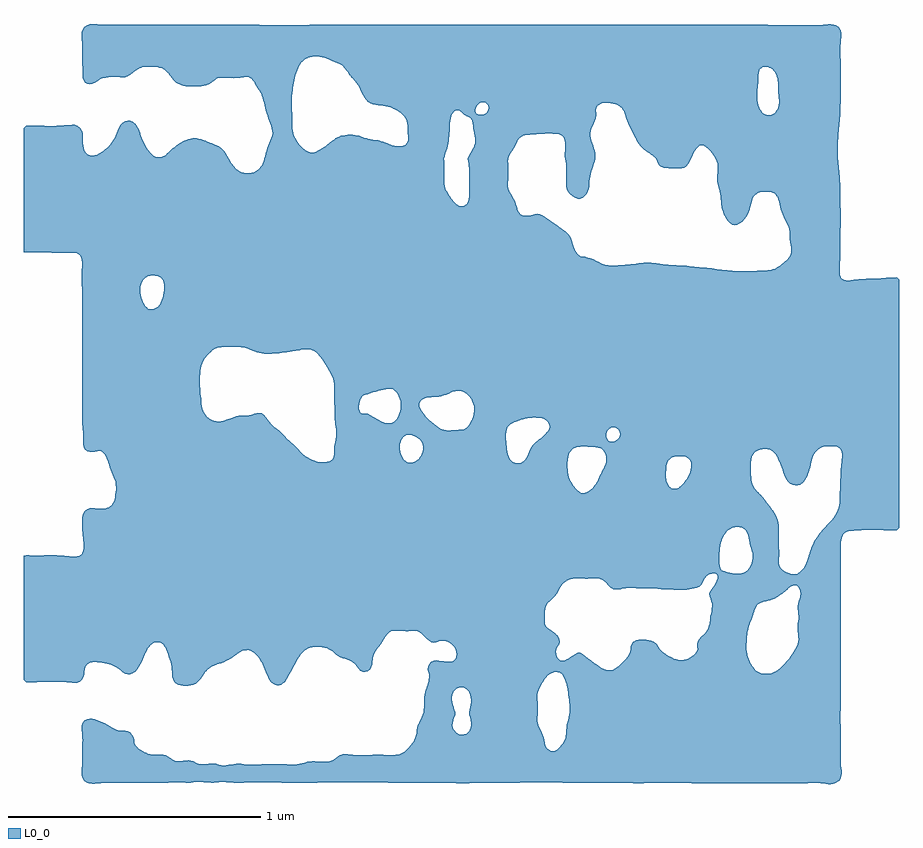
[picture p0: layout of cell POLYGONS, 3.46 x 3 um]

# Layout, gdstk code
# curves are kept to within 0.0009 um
import gdstk
lib = gdstk.Library(unit=1e-6, precision=1e-09)
def R(c, l, rs):  # rectangles x0, y0, x1, y1
    for r in rs: c.add(gdstk.rectangle(r[:2], r[2:], *l))
def P(c, l, *ps):  # polygons
    for p in ps: c.add(gdstk.Polygon(p, *l))
L0_0 = (0, 0)

polygons = lib.new_cell('POLYGONS')
R(polygons, L0_0, [(0.04,-1.25,0.296,-0.86), (-1.5,-0.86,-1.397,-0.61), (-1.397,-0.86,-1.24,-0.61), (-1.24,-0.86,-1.047,-0.61), (-1.047,-0.86,-0.87,-0.61), (-0.87,-0.86,-0.7,-0.61), (-0.7,-0.86,-0.53,-0.61), (-0.53,-0.86,-0.37,-0.61), (-0.37,-0.86,-0.214,-0.61), (-0.214,-0.86,-0.06,-0.61), (-0.06,-0.86,0.04,-0.61), (0.04,-0.86,0.296,-0.61), (-1.24,-0.61,-1.047,-0.24), (-1.047,-0.61,-0.87,-0.24), (-0.87,-0.61,-0.7,-0.24), (-0.7,-0.61,-0.53,-0.24), (-0.53,-0.61,-0.37,-0.24), (-0.37,-0.61,-0.214,-0.24), (-0.214,-0.61,-0.06,-0.24), (-0.06,-0.61,0.04,-0.24), (0.04,-0.61,0.296,-0.24), (0.296,-0.61,0.414,-0.24), (-1.24,-0.24,-1.047,0.09), (-0.06,-0.24,0.04,-0.13)])
P(polygons, L0_0, [(-1.5,1.475),(-1.5,1.475),(-1.501,1.47),(-1.502,1.46),(-1.502,1.45),(-1.501,1.44),(-1.5,1.43),(-1.5,1.43),(-1.5,1.427)],
  [(-1.5,0.434),(-1.5,1.077),(-1.51,1.092),(-1.521,1.1),(-1.53,1.103),(-1.61,1.098),(-1.64,1.098),(-1.66,1.1),(-1.72,1.1),(-1.73,1.09),(-1.73,0.6),(-1.53,0.598),(-1.52,0.595),(-1.511,0.59),(-1.504,0.58),(-1.501,0.57),(-1.5,0.56),(-1.502,0.51)],
  [(-1.5,0.07),(-1.5,0.06),(-1.5,0.055),(-1.5,0.42),(-1.5,0.41),(-1.5,0.4),(-1.5,0.39),(-1.5,0.38),(-1.5,0.37),(-1.5,0.36),(-1.5,0.35),(-1.5,0.34),(-1.5,0.33),(-1.5,0.325),(-1.5,0.32),(-1.5,0.31),(-1.5,0.3),(-1.5,0.29),(-1.5,0.28),(-1.5,0.26),(-1.5,0.25),(-1.5,0.24),(-1.5,0.23),(-1.5,0.22),(-1.5,0.21),(-1.5,0.2),(-1.5,0.19),(-1.5,0.18),(-1.5,0.17),(-1.5,0.16),(-1.5,0.15),(-1.5,0.13),(-1.5,0.12),(-1.5,0.11),(-1.5,0.107),(-1.5,0.1),(-1.5,0.09),(-1.5,0.08)],
  [(-1.5,-0.47),(-1.5,-0.47),(-1.5,-0.472)],
  [(-1.72,-1.1),(-1.59,-1.098),(-1.53,-1.103),(-1.52,-1.102),(-1.51,-1.098),(-1.5,-1.088),(-1.5,-0.591),(-1.51,-0.6),(-1.53,-0.605),(-1.6,-0.599),(-1.66,-0.6),(-1.72,-0.599),(-1.73,-0.6),(-1.73,-1.09)],
  [(-1.5,-1.265),(-1.5,-1.266),(-1.501,-1.27),(-1.501,-1.28),(-1.501,-1.29),(-1.5,-1.3),(-1.5,-1.301),(-1.5,-1.304)],
  [(-1.5,-1.422),(-1.5,-1.426),(-1.5,-1.43),(-1.501,-1.44),(-1.502,-1.45),(-1.502,-1.46),(-1.501,-1.47),(-1.5,-1.475),(-1.5,-1.476)],
  [(-1.46,1.266),(-1.45,1.27),(-1.43,1.283),(-1.42,1.287),(-1.397,1.292),(-1.397,1.499),(-1.45,1.502),(-1.47,1.501),(-1.48,1.498),(-1.49,1.492),(-1.5,1.475),(-1.499,1.34),(-1.497,1.29),(-1.494,1.28),(-1.488,1.27),(-1.48,1.266),(-1.47,1.264)],
  [(-1.397,1.015),(-1.42,0.996),(-1.44,0.986),(-1.45,0.983),(-1.46,0.982),(-1.47,0.983),(-1.48,0.987),(-1.49,0.998),(-1.494,1.01),(-1.497,1.03),(-1.497,1.06),(-1.5,1.077),(-1.5,0.45),(-1.397,0.45)],
  [(-1.397,0.45),(-1.5,0.45),(-1.5,0.434),(-1.5,0.43),(-1.5,0.42),(-1.5,0.09),(-1.397,0.09)],
  [(-1.397,0.09),(-1.5,0.09),(-1.499,-0.08),(-1.496,-0.11),(-1.496,-0.16),(-1.494,-0.17),(-1.49,-0.18),(-1.48,-0.187),(-1.47,-0.19),(-1.459,-0.19),(-1.43,-0.186),(-1.42,-0.19),(-1.41,-0.2),(-1.397,-0.228)],
  [(-1.397,-0.41),(-1.41,-0.414),(-1.42,-0.415),(-1.46,-0.412),(-1.47,-0.413),(-1.48,-0.416),(-1.486,-0.42),(-1.494,-0.43),(-1.499,-0.45),(-1.5,-0.47),(-1.499,-0.5),(-1.494,-0.55),(-1.494,-0.57),(-1.495,-0.58),(-1.5,-0.591),(-1.5,-0.61),(-1.397,-0.61)],
  [(-1.495,-1.08),(-1.492,-1.07),(-1.49,-1.049),(-1.487,-1.04),(-1.48,-1.03),(-1.47,-1.024),(-1.46,-1.021),(-1.45,-1.02),(-1.41,-1.025),(-1.397,-1.028),(-1.397,-0.86),(-1.5,-0.86),(-1.5,-1.088)],
  [(-1.45,-1.502),(-1.42,-1.499),(-1.397,-1.499),(-1.397,-1.27),(-1.44,-1.25),(-1.46,-1.245),(-1.47,-1.245),(-1.48,-1.246),(-1.489,-1.25),(-1.498,-1.26),(-1.5,-1.265),(-1.5,-1.304),(-1.498,-1.33),(-1.5,-1.476),(-1.492,-1.49),(-1.48,-1.498),(-1.47,-1.501)],
  [(-1.33,1.292),(-1.313,1.3),(-1.286,1.32),(-1.27,1.329),(-1.26,1.332),(-1.24,1.333),(-1.24,1.5),(-1.397,1.499),(-1.397,1.292),(-1.37,1.294),(-1.34,1.291)],
  [(-1.271,0.46),(-1.269,0.47),(-1.265,0.48),(-1.258,0.49),(-1.25,0.498),(-1.24,0.504),(-1.24,1.004),(-1.25,1.02),(-1.26,1.04),(-1.279,1.09),(-1.29,1.108),(-1.3,1.116),(-1.31,1.119),(-1.32,1.12),(-1.33,1.118),(-1.34,1.112),(-1.35,1.101),(-1.372,1.05),(-1.38,1.037),(-1.397,1.015),(-1.397,0.45),(-1.271,0.45)],
  [(-1.24,0.377),(-1.25,0.386),(-1.26,0.404),(-1.266,0.42),(-1.271,0.45),(-1.397,0.45),(-1.397,0.09),(-1.24,0.09)],
  [(-1.39,-0.25),(-1.37,-0.302),(-1.368,-0.31),(-1.366,-0.34),(-1.37,-0.37),(-1.372,-0.38),(-1.376,-0.39),(-1.383,-0.4),(-1.397,-0.41),(-1.397,-0.61),(-1.24,-0.61),(-1.24,0.09),(-1.397,0.09),(-1.397,-0.23)],
  [(-1.31,-1.069),(-1.3,-1.066),(-1.29,-1.059),(-1.282,-1.05),(-1.27,-1.03),(-1.26,-1.01),(-1.252,-0.99),(-1.24,-0.967),(-1.24,-0.86),(-1.397,-0.86),(-1.397,-1.028),(-1.367,-1.04),(-1.35,-1.052),(-1.34,-1.061),(-1.33,-1.067),(-1.32,-1.069)],
  [(-1.33,-1.499),(-1.24,-1.498),(-1.24,-1.383),(-1.26,-1.374),(-1.281,-1.36),(-1.29,-1.348),(-1.293,-1.34),(-1.296,-1.32),(-1.301,-1.31),(-1.31,-1.299),(-1.32,-1.294),(-1.33,-1.292),(-1.35,-1.293),(-1.36,-1.291),(-1.397,-1.27),(-1.397,-1.499)],
  [(-1.05,1.255),(-1.047,1.255),(-1.047,1.499),(-1.24,1.5),(-1.24,1.333),(-1.2,1.331),(-1.19,1.329),(-1.18,1.325),(-1.172,1.32),(-1.16,1.309),(-1.14,1.282),(-1.13,1.272),(-1.11,1.261),(-1.09,1.256)],
  [(-1.22,0.508),(-1.2,0.505),(-1.19,0.5),(-1.181,0.49),(-1.177,0.48),(-1.176,0.45),(-1.181,0.42),(-1.189,0.4),(-1.195,0.39),(-1.206,0.38),(-1.22,0.375),(-1.23,0.374),(-1.24,0.377),(-1.24,0.09),(-1.047,0.09),(-1.047,1.05),(-1.063,1.05),(-1.08,1.047),(-1.1,1.038),(-1.13,1.019),(-1.17,0.984),(-1.19,0.975),(-1.2,0.975),(-1.21,0.977),(-1.22,0.983),(-1.228,0.99),(-1.24,1.004),(-1.24,0.504),(-1.23,0.507)],
  [(-1.23,-0.954),(-1.22,-0.947),(-1.21,-0.943),(-1.2,-0.943),(-1.19,-0.945),(-1.18,-0.95),(-1.173,-0.96),(-1.16,-0.99),(-1.15,-1.02),(-1.146,-1.04),(-1.143,-1.08),(-1.14,-1.09),(-1.13,-1.104),(-1.12,-1.11),(-1.11,-1.113),(-1.09,-1.115),(-1.06,-1.11),(-1.05,-1.106),(-1.047,-1.103),(-1.047,-0.86),(-1.24,-0.86),(-1.24,-0.967)],
  [(-1.22,-1.498),(-1.18,-1.499),(-1.13,-1.496),(-1.07,-1.498),(-1.047,-1.495),(-1.047,-1.42),(-1.06,-1.414),(-1.078,-1.41),(-1.11,-1.414),(-1.13,-1.413),(-1.14,-1.409),(-1.169,-1.39),(-1.18,-1.387),(-1.22,-1.387),(-1.24,-1.383),(-1.24,-1.498)],
  [(-1.04,1.255),(-1.01,1.26),(-1,1.264),(-0.99,1.269),(-0.97,1.285),(-0.96,1.289),(-0.93,1.29),(-0.9,1.288),(-0.88,1.289),(-0.87,1.291),(-0.87,1.499),(-1.047,1.499),(-1.047,1.255)],
  [(-1.034,0.1),(-1.031,0.14),(-1.026,0.16),(-1.02,0.172),(-1.01,0.187),(-0.987,0.21),(-0.97,0.22),(-0.96,0.223),(-0.93,0.226),(-0.9,0.226),(-0.87,0.224),(-0.87,0.916),(-0.89,0.928),(-0.901,0.94),(-0.909,0.95),(-0.93,0.986),(-0.94,1),(-0.95,1.011),(-0.96,1.018),(-1.012,1.04),(-1.04,1.049),(-1.047,1.05),(-1.047,0.09),(-1.034,0.09)],
  [(-0.87,-0.046),(-0.89,-0.049),(-0.93,-0.063),(-0.95,-0.069),(-0.96,-0.07),(-0.98,-0.067),(-1,-0.056),(-1.016,-0.04),(-1.026,-0.02),(-1.028,-0.01),(-1.032,0.04),(-1.034,0.09),(-1.047,0.09),(-1.047,-0.24),(-0.87,-0.24)],
  [(-1.044,-1.1),(-1.03,-1.084),(-1.013,-1.06),(-1.004,-1.05),(-0.99,-1.04),(-0.968,-1.03),(-0.937,-1.02),(-0.91,-1.005),(-0.88,-0.984),(-0.87,-0.979),(-0.87,-0.86),(-1.047,-0.86),(-1.047,-1.103)],
  [(-0.87,-1.499),(-0.87,-1.423),(-0.89,-1.423),(-0.94,-1.43),(-0.95,-1.429),(-0.97,-1.423),(-0.98,-1.422),(-1.03,-1.425),(-1.04,-1.423),(-1.047,-1.42),(-1.047,-1.495),(-0.99,-1.498),(-0.94,-1.495),(-0.89,-1.499)],
  [(-0.85,1.293),(-0.837,1.29),(-0.83,1.286),(-0.818,1.27),(-0.789,1.22),(-0.78,1.19),(-0.771,1.15),(-0.75,1.09),(-0.747,1.07),(-0.752,1.05),(-0.768,1.01),(-0.782,0.96),(-0.791,0.94),(-0.8,0.929),(-0.81,0.921),(-0.82,0.916),(-0.83,0.913),(-0.85,0.911),(-0.87,0.916),(-0.87,0.224),(-0.86,0.223),(-0.82,0.208),(-0.79,0.2),(-0.75,0.199),(-0.71,0.202),(-0.7,0.204),(-0.7,1.497),(-0.87,1.499),(-0.87,1.291)],
  [(-0.7,-0.126),(-0.716,-0.11),(-0.75,-0.083),(-0.78,-0.044),(-0.79,-0.038),(-0.8,-0.037),(-0.81,-0.038),(-0.84,-0.045),(-0.87,-0.046),(-0.87,-0.24),(-0.7,-0.24)],
  [(-0.85,-0.974),(-0.84,-0.975),(-0.83,-0.978),(-0.82,-0.984),(-0.81,-0.993),(-0.8,-1.005),(-0.786,-1.03),(-0.77,-1.07),(-0.76,-1.091),(-0.75,-1.103),(-0.74,-1.109),(-0.73,-1.112),(-0.72,-1.112),(-0.71,-1.109),(-0.7,-1.101),(-0.7,-0.86),(-0.87,-0.86),(-0.87,-0.979),(-0.86,-0.975)],
  [(-0.86,-1.498),(-0.82,-1.496),(-0.74,-1.496),(-0.7,-1.498),(-0.7,-1.424),(-0.73,-1.425),(-0.78,-1.424),(-0.83,-1.427),(-0.85,-1.426),(-0.87,-1.423),(-0.87,-1.499)],
  [(-0.672,1.19),(-0.671,1.22),(-0.662,1.28),(-0.657,1.3),(-0.65,1.32),(-0.64,1.34),(-0.633,1.35),(-0.62,1.362),(-0.603,1.37),(-0.59,1.373),(-0.58,1.374),(-0.56,1.373),(-0.55,1.371),(-0.53,1.364),(-0.53,1.499),(-0.7,1.497),(-0.7,1.18),(-0.672,1.18)],
  [(-0.53,1.024),(-0.56,1.004),(-0.58,0.995),(-0.59,0.993),(-0.6,0.994),(-0.61,0.998),(-0.627,1.01),(-0.64,1.023),(-0.65,1.036),(-0.663,1.06),(-0.666,1.07),(-0.669,1.09),(-0.669,1.14),(-0.672,1.18),(-0.7,1.18),(-0.7,0.97),(-0.53,0.97)],
  [(-0.68,0.206),(-0.62,0.216),(-0.61,0.216),(-0.59,0.213),(-0.58,0.208),(-0.57,0.2),(-0.56,0.189),(-0.55,0.176),(-0.53,0.144),(-0.53,0.97),(-0.7,0.97),(-0.7,0.204)],
  [(-0.53,-0.229),(-0.54,-0.231),(-0.55,-0.231),(-0.57,-0.228),(-0.58,-0.225),(-0.61,-0.212),(-0.627,-0.2),(-0.7,-0.126),(-0.7,-0.24),(-0.53,-0.24)],
  [(-0.699,-1.1),(-0.69,-1.086),(-0.649,-1.01),(-0.635,-0.99),(-0.62,-0.975),(-0.6,-0.964),(-0.57,-0.96),(-0.55,-0.962),(-0.53,-0.967),(-0.53,-0.86),(-0.7,-0.86),(-0.7,-1.101)],
  [(-0.59,-1.498),(-0.53,-1.497),(-0.53,-1.416),(-0.56,-1.416),(-0.59,-1.414),(-0.61,-1.416),(-0.64,-1.423),(-0.66,-1.426),(-0.68,-1.426),(-0.7,-1.424),(-0.7,-1.498),(-0.61,-1.499)],
  [(-0.38,1.207),(-0.37,1.195),(-0.37,1.5),(-0.53,1.499),(-0.53,1.364),(-0.475,1.34),(-0.463,1.33),(-0.441,1.3),(-0.409,1.26),(-0.394,1.23)],
  [(-0.37,1.049),(-0.38,1.051),(-0.4,1.059),(-0.43,1.064),(-0.46,1.063),(-0.477,1.06),(-0.49,1.055),(-0.499,1.05),(-0.53,1.024),(-0.53,0.97),(-0.37,0.97)],
  [(-0.501,-0.04),(-0.501,-0.06),(-0.495,-0.11),(-0.495,-0.13),(-0.502,-0.16),(-0.505,-0.21),(-0.512,-0.22),(-0.52,-0.226),(-0.53,-0.229),(-0.53,-0.24),(-0.37,-0.24),(-0.37,-0.04),(-0.39,-0.04),(-0.4,-0.035),(-0.407,-0.02),(-0.407,-0.01),(-0.405,0),(-0.4,0.016),(-0.392,0.03),(-0.38,0.037),(-0.37,0.039),(-0.37,0.97),(-0.53,0.97),(-0.53,0.144),(-0.516,0.12),(-0.505,0.09),(-0.503,0.07),(-0.504,0.01)],
  [(-0.38,-1.06),(-0.37,-1.057),(-0.37,-0.86),(-0.53,-0.86),(-0.53,-0.967),(-0.508,-0.98),(-0.5,-0.988),(-0.484,-1),(-0.45,-1.011),(-0.43,-1.021),(-0.42,-1.03),(-0.41,-1.044),(-0.4,-1.055),(-0.39,-1.06)],
  [(-0.37,-1.389),(-0.41,-1.39),(-0.45,-1.386),(-0.47,-1.386),(-0.48,-1.389),(-0.509,-1.41),(-0.53,-1.416),(-0.53,-1.497),(-0.37,-1.497)],
  [(-0.214,1.5),(-0.22,1.5),(-0.23,1.5),(-0.24,1.5),(-0.26,1.5),(-0.27,1.5),(-0.28,1.5),(-0.29,1.5),(-0.3,1.5),(-0.31,1.5),(-0.33,1.5),(-0.34,1.5),(-0.35,1.5),(-0.36,1.5),(-0.37,1.5),(-0.37,1.22),(-0.214,1.22)],
  [(-0.214,1.22),(-0.37,1.22),(-0.37,1.195),(-0.36,1.188),(-0.35,1.184),(-0.31,1.179),(-0.28,1.172),(-0.25,1.157),(-0.24,1.151),(-0.228,1.14),(-0.22,1.13),(-0.216,1.12),(-0.214,1.11)],
  [(-0.214,1.034),(-0.22,1.025),(-0.23,1.02),(-0.24,1.018),(-0.25,1.018),(-0.266,1.02),(-0.28,1.024),(-0.31,1.037),(-0.33,1.042),(-0.37,1.049),(-0.37,0.97),(-0.214,0.97)],
  [(-0.36,0.042),(-0.33,0.051),(-0.29,0.06),(-0.28,0.06),(-0.27,0.057),(-0.26,0.049),(-0.253,0.04),(-0.248,0.03),(-0.241,0.01),(-0.24,-0.01),(-0.241,-0.02),(-0.246,-0.04),(-0.256,-0.06),(-0.26,-0.065),(-0.27,-0.073),(-0.28,-0.076),(-0.29,-0.077),(-0.3,-0.076),(-0.33,-0.063),(-0.36,-0.044),(-0.37,-0.04),(-0.37,-0.17),(-0.244,-0.17),(-0.244,-0.16),(-0.237,-0.14),(-0.23,-0.13),(-0.22,-0.124),(-0.214,-0.123),(-0.214,0.97),(-0.37,0.97),(-0.37,0.039)],
  [(-0.214,-0.23),(-0.22,-0.227),(-0.228,-0.22),(-0.235,-0.21),(-0.24,-0.2),(-0.243,-0.19),(-0.244,-0.17),(-0.37,-0.17),(-0.37,-0.24),(-0.214,-0.24)],
  [(-0.361,-1.05),(-0.356,-1.04),(-0.353,-1.03),(-0.35,-1.004),(-0.342,-0.98),(-0.336,-0.97),(-0.32,-0.95),(-0.3,-0.918),(-0.29,-0.906),(-0.28,-0.9),(-0.27,-0.897),(-0.24,-0.897),(-0.214,-0.899),(-0.214,-0.86),(-0.37,-0.86),(-0.37,-1.057)],
  [(-0.26,-1.498),(-0.214,-1.498),(-0.214,-1.366),(-0.23,-1.379),(-0.24,-1.384),(-0.25,-1.387),(-0.27,-1.389),(-0.31,-1.388),(-0.37,-1.389),(-0.37,-1.497)],
  [(-0.06,1.5),(-0.08,1.5),(-0.09,1.5),(-0.1,1.5),(-0.13,1.5),(-0.14,1.5),(-0.15,1.5),(-0.16,1.5),(-0.17,1.5),(-0.18,1.5),(-0.19,1.5),(-0.2,1.5),(-0.21,1.5),(-0.214,1.5),(-0.214,1.22),(-0.06,1.22)],
  [(-0.067,0.98),(-0.06,1),(-0.06,1.22),(-0.214,1.22),(-0.214,1.11),(-0.213,1.07),(-0.211,1.06),(-0.211,1.04),(-0.214,1.034),(-0.214,0.97),(-0.07,0.97)],
  [(-0.164,0.01),(-0.152,0.02),(-0.14,0.024),(-0.13,0.026),(-0.09,0.029),(-0.06,0.037),(-0.06,0.842),(-0.064,0.85),(-0.069,0.88),(-0.068,0.95),(-0.07,0.97),(-0.214,0.97),(-0.214,0),(-0.167,0)],
  [(-0.166,-0.14),(-0.158,-0.15),(-0.154,-0.16),(-0.152,-0.17),(-0.153,-0.19),(-0.157,-0.2),(-0.163,-0.21),(-0.17,-0.218),(-0.18,-0.226),(-0.19,-0.231),(-0.21,-0.232),(-0.214,-0.23),(-0.214,-0.24),(-0.06,-0.24),(-0.06,-0.105),(-0.08,-0.1),(-0.09,-0.094),(-0.13,-0.062),(-0.142,-0.05),(-0.158,-0.03),(-0.167,-0.01),(-0.167,0),(-0.214,0),(-0.214,-0.123),(-0.21,-0.122),(-0.2,-0.123),(-0.19,-0.126),(-0.18,-0.13)],
  [(-0.1,-0.942),(-0.08,-0.937),(-0.06,-0.938),(-0.06,-0.86),(-0.214,-0.86),(-0.214,-0.899),(-0.19,-0.897),(-0.172,-0.9),(-0.156,-0.91),(-0.13,-0.935),(-0.12,-0.942),(-0.11,-0.944)],
  [(-0.148,-1.19),(-0.15,-1.22),(-0.153,-1.23),(-0.172,-1.27),(-0.177,-1.3),(-0.182,-1.32),(-0.192,-1.34),(-0.214,-1.366),(-0.214,-1.498),(-0.06,-1.499),(-0.06,-1.019),(-0.1,-1.014),(-0.11,-1.015),(-0.12,-1.02),(-0.128,-1.03),(-0.132,-1.04),(-0.133,-1.05),(-0.128,-1.07),(-0.127,-1.08),(-0.131,-1.1),(-0.141,-1.13),(-0.146,-1.15),(-0.148,-1.17)],
  [(0.04,1.5),(0.03,1.5),(0.02,1.5),(0.01,1.5),(0,1.5),(-0.01,1.5),(-0.02,1.5),(-0.03,1.5),(-0.04,1.5),(-0.06,1.5),(-0.06,1.22),(0.04,1.22)],
  [(0.004,1.15),(0.01,1.144),(0.036,1.13),(0.04,1.124),(0.04,1.22),(-0.06,1.22),(-0.06,1),(-0.057,1.01),(-0.048,1.06),(-0.046,1.11),(-0.045,1.12),(-0.04,1.141),(-0.03,1.156),(-0.02,1.161),(-0.01,1.16)],
  [(0.031,0.84),(0.029,0.81),(0.026,0.8),(0.02,0.79),(0.01,0.784),(0,0.781),(-0.01,0.783),(-0.02,0.789),(-0.031,0.8),(-0.047,0.82),(-0.06,0.842),(-0.06,0.037),(-0.03,0.049),(-0.01,0.052),(0.001,0.05),(0.02,0.04),(0.03,0.03),(0.04,0.016),(0.04,0.999),(0.028,0.98),(0.025,0.97),(0.031,0.92),(0.03,0.86)],
  [(0.04,-0.064),(0.03,-0.083),(0.02,-0.094),(0.01,-0.101),(0,-0.103),(-0.03,-0.105),(-0.05,-0.106),(-0.06,-0.105),(-0.06,-0.13),(0.04,-0.13)],
  [(0.038,-1.27),(0.037,-1.28),(0.033,-1.29),(0.025,-1.3),(0.02,-1.304),(0.01,-1.307),(0,-1.308),(-0.01,-1.306),(-0.021,-1.3),(-0.03,-1.289),(-0.034,-1.28),(-0.036,-1.27),(-0.033,-1.25),(-0.024,-1.23),(-0.024,-1.22),(-0.037,-1.18),(-0.038,-1.17),(-0.06,-1.17),(-0.06,-1.499),(-0.02,-1.5),(0.04,-1.499),(0.04,-0.86),(-0.06,-0.86),(-0.06,-0.938),(-0.04,-0.948),(-0.03,-0.958),(-0.023,-0.97),(-0.02,-0.98),(-0.019,-0.99),(-0.02,-1.001),(-0.024,-1.01),(-0.03,-1.015),(-0.04,-1.019),(-0.06,-1.019),(-0.06,-1.17),(-0.038,-1.17),(-0.038,-1.16),(-0.036,-1.15),(-0.032,-1.14),(-0.02,-1.126),(-0.01,-1.122),(0,-1.121),(0.01,-1.123),(0.022,-1.13),(0.031,-1.14),(0.035,-1.15),(0.037,-1.16),(0.038,-1.18),(0.031,-1.22),(0.031,-1.23),(0.037,-1.25)],
  [(0.296,1.5),(0.29,1.5),(0.28,1.5),(0.24,1.5),(0.23,1.5),(0.22,1.5),(0.21,1.5),(0.2,1.5),(0.19,1.5),(0.17,1.5),(0.16,1.5),(0.14,1.5),(0.13,1.5),(0.12,1.5),(0.11,1.5),(0.1,1.5),(0.09,1.5),(0.07,1.5),(0.06,1.5),(0.04,1.5),(0.04,1.22),(0.296,1.22)],
  [(0.183,0.87),(0.185,0.9),(0.185,0.94),(0.183,0.96),(0.184,0.97),(0.187,0.98),(0.212,1.02),(0.221,1.04),(0.228,1.05),(0.24,1.059),(0.26,1.064),(0.296,1.067),(0.296,1.22),(0.04,1.22),(0.04,1.16),(0.055,1.16),(0.057,1.17),(0.062,1.18),(0.07,1.188),(0.08,1.193),(0.09,1.193),(0.1,1.186),(0.105,1.18),(0.108,1.17),(0.106,1.16),(0.098,1.15),(0.09,1.145),(0.08,1.143),(0.07,1.143),(0.06,1.147),(0.057,1.15),(0.055,1.16),(0.04,1.16),(0.04,1.124),(0.042,1.12),(0.05,1.07),(0.055,1.05),(0.054,1.03),(0.047,1.01),(0.04,0.999),(0.04,0.86),(0.183,0.86)],
  [(0.175,-0.12),(0.176,-0.11),(0.18,-0.095),(0.19,-0.082),(0.2,-0.076),(0.21,-0.071),(0.24,-0.061),(0.26,-0.056),(0.29,-0.053),(0.296,-0.054),(0.296,0.75),(0.27,0.744),(0.26,0.743),(0.25,0.743),(0.24,0.746),(0.233,0.75),(0.225,0.76),(0.212,0.8),(0.188,0.84),(0.184,0.85),(0.183,0.86),(0.04,0.86),(0.04,0.016),(0.047,0),(0.05,-0.01),(0.051,-0.02),(0.046,-0.05),(0.04,-0.064),(0.04,-0.13),(0.175,-0.13)],
  [(0.296,-0.15),(0.285,-0.16),(0.277,-0.17),(0.271,-0.18),(0.26,-0.208),(0.253,-0.22),(0.24,-0.231),(0.23,-0.234),(0.22,-0.234),(0.21,-0.233),(0.2,-0.228),(0.192,-0.22),(0.186,-0.21),(0.18,-0.19),(0.175,-0.13),(0.04,-0.13),(0.04,-0.24),(0.296,-0.24)],
  [(0.05,-1.499),(0.17,-1.499),(0.296,-1.497),(0.296,-1.25),(0.04,-1.25),(0.04,-1.499)],
  [(0.414,1.5),(0.39,1.5),(0.38,1.5),(0.37,1.5),(0.36,1.5),(0.35,1.5),(0.32,1.5),(0.31,1.5),(0.3,1.5),(0.296,1.5),(0.296,1.22),(0.414,1.22)],
  [(0.414,1.22),(0.296,1.22),(0.296,1.067),(0.34,1.07),(0.37,1.069),(0.38,1.068),(0.39,1.065),(0.4,1.058),(0.406,1.05),(0.41,1.034),(0.411,1.02),(0.409,0.98),(0.414,0.948)],
  [(0.414,0.88),(0.414,0.87),(0.414,0.868)],
  [(0.321,-0.13),(0.296,-0.15),(0.296,-0.24),(0.414,-0.24),(0.414,0.679),(0.33,0.739),(0.32,0.745),(0.31,0.749),(0.3,0.751),(0.296,0.75),(0.296,-0.054),(0.31,-0.055),(0.329,-0.06),(0.342,-0.07),(0.347,-0.08),(0.349,-0.09),(0.347,-0.1),(0.341,-0.11)],
  [(0.329,-0.85),(0.329,-0.83),(0.331,-0.81),(0.334,-0.8),(0.339,-0.79),(0.37,-0.759),(0.377,-0.75),(0.39,-0.726),(0.4,-0.712),(0.414,-0.701),(0.414,-0.61),(0.296,-0.61),(0.296,-0.86),(0.329,-0.86)],
  [(0.3,-1.244),(0.301,-1.23),(0.3,-1.15),(0.302,-1.14),(0.305,-1.13),(0.31,-1.12),(0.321,-1.1),(0.335,-1.08),(0.35,-1.067),(0.37,-1.06),(0.38,-1.061),(0.39,-1.064),(0.4,-1.072),(0.41,-1.09),(0.414,-1.102),(0.414,-1.012),(0.4,-1.016),(0.39,-1.015),(0.38,-1.005),(0.377,-1),(0.372,-0.98),(0.374,-0.97),(0.386,-0.95),(0.388,-0.94),(0.387,-0.93),(0.38,-0.917),(0.37,-0.907),(0.344,-0.89),(0.334,-0.88),(0.329,-0.87),(0.329,-0.86),(0.296,-0.86),(0.296,-1.25),(0.3,-1.25)],
  [(0.414,-1.306),(0.412,-1.32),(0.408,-1.33),(0.39,-1.356),(0.38,-1.366),(0.37,-1.372),(0.36,-1.374),(0.35,-1.371),(0.336,-1.36),(0.331,-1.35),(0.326,-1.32),(0.32,-1.304),(0.304,-1.27),(0.301,-1.26),(0.3,-1.25),(0.296,-1.25),(0.296,-1.497),(0.414,-1.498)],
  [(0.54,1.5),(0.52,1.5),(0.51,1.5),(0.5,1.5),(0.49,1.5),(0.48,1.5),(0.47,1.5),(0.46,1.5),(0.45,1.5),(0.44,1.5),(0.43,1.5),(0.414,1.5),(0.414,1.22),(0.54,1.22)],
  [(0.48,0.815),(0.495,0.83),(0.5,0.84),(0.505,0.86),(0.507,0.89),(0.513,0.92),(0.523,0.95),(0.528,0.97),(0.529,0.98),(0.528,0.99),(0.511,1.05),(0.51,1.071),(0.514,1.09),(0.53,1.13),(0.532,1.14),(0.531,1.16),(0.533,1.17),(0.54,1.181),(0.54,1.22),(0.414,1.22),(0.414,0.948),(0.415,0.94),(0.414,0.86),(0.416,0.85),(0.42,0.84),(0.428,0.83),(0.44,0.82),(0.45,0.815),(0.46,0.812),(0.47,0.812)],
  [(0.54,0.561),(0.51,0.575),(0.49,0.581),(0.47,0.584),(0.461,0.59),(0.45,0.605),(0.43,0.66),(0.423,0.67),(0.414,0.679),(0.414,-0.12),(0.54,-0.12)],
  [(0.419,-0.23),(0.422,-0.21),(0.429,-0.19),(0.44,-0.178),(0.45,-0.173),(0.46,-0.17),(0.48,-0.168),(0.524,-0.17),(0.54,-0.173),(0.54,-0.12),(0.414,-0.12),(0.414,-0.24),(0.419,-0.24)],
  [(0.54,-0.301),(0.529,-0.32),(0.51,-0.341),(0.5,-0.348),(0.49,-0.352),(0.48,-0.353),(0.47,-0.351),(0.46,-0.344),(0.45,-0.334),(0.433,-0.31),(0.428,-0.3),(0.422,-0.28),(0.419,-0.24),(0.414,-0.24),(0.414,-0.61),(0.54,-0.61)],
  [(0.415,-0.7),(0.44,-0.691),(0.46,-0.689),(0.49,-0.691),(0.54,-0.69),(0.54,-0.61),(0.414,-0.61),(0.414,-0.701)],
  [(0.54,-1.036),(0.479,-0.99),(0.47,-0.985),(0.46,-0.985),(0.45,-0.989),(0.414,-1.012),(0.414,-1.102),(0.422,-1.14),(0.428,-1.19),(0.427,-1.23),(0.417,-1.27),(0.414,-1.3),(0.414,-1.498),(0.54,-1.499)],
  [(0.758,1.5),(0.75,1.5),(0.74,1.5),(0.73,1.5),(0.71,1.5),(0.709,1.5),(0.7,1.5),(0.69,1.5),(0.68,1.5),(0.67,1.5),(0.66,1.5),(0.65,1.5),(0.64,1.5),(0.63,1.5),(0.62,1.5),(0.619,1.5),(0.61,1.5),(0.6,1.5),(0.59,1.5),(0.57,1.5),(0.56,1.5),(0.55,1.5),(0.54,1.5),(0.54,1.22),(0.758,1.22)],
  [(0.56,1.19),(0.57,1.191),(0.6,1.187),(0.62,1.18),(0.634,1.17),(0.641,1.16),(0.664,1.1),(0.693,1.04),(0.7,1.029),(0.71,1.016),(0.72,1.006),(0.758,0.981),(0.758,1.22),(0.54,1.22),(0.54,1.181),(0.55,1.187)],
  [(0.54,-0.3),(0.54,-0.61),(0.758,-0.61),(0.758,0.557),(0.72,0.558),(0.63,0.548),(0.59,0.547),(0.57,0.549),(0.56,0.552),(0.54,0.561),(0.54,-0.12),(0.573,-0.12),(0.575,-0.11),(0.58,-0.102),(0.59,-0.094),(0.6,-0.092),(0.61,-0.094),(0.62,-0.1),(0.626,-0.11),(0.628,-0.12),(0.625,-0.13),(0.618,-0.14),(0.61,-0.146),(0.6,-0.149),(0.59,-0.15),(0.58,-0.145),(0.576,-0.14),(0.573,-0.13),(0.573,-0.12),(0.54,-0.12),(0.54,-0.173),(0.55,-0.176),(0.56,-0.184),(0.57,-0.2),(0.573,-0.21),(0.572,-0.23),(0.569,-0.24)],
  [(0.62,-0.733),(0.66,-0.728),(0.69,-0.73),(0.758,-0.73),(0.758,-0.61),(0.54,-0.61),(0.54,-0.69),(0.56,-0.697),(0.57,-0.706),(0.59,-0.728),(0.6,-0.732)],
  [(0.71,-1.5),(0.758,-1.499),(0.758,-0.94),(0.75,-0.937),(0.72,-0.932),(0.71,-0.932),(0.69,-0.935),(0.68,-0.941),(0.673,-0.95),(0.67,-0.96),(0.667,-0.98),(0.657,-1),(0.65,-1.01),(0.63,-1.03),(0.61,-1.046),(0.6,-1.051),(0.58,-1.054),(0.57,-1.052),(0.56,-1.048),(0.54,-1.036),(0.54,-1.499)],
  [(0.97,1.499),(0.758,1.5),(0.758,1.22),(0.97,1.22)],
  [(0.87,0.931),(0.88,0.934),(0.89,0.942),(0.9,0.956),(0.92,0.997),(0.93,1.011),(0.94,1.02),(0.95,1.023),(0.96,1.02),(0.97,1.013),(0.97,1.22),(0.758,1.22),(0.758,0.981),(0.77,0.97),(0.777,0.95),(0.79,0.937),(0.8,0.934),(0.82,0.932)],
  [(0.904,-0.27),(0.9,-0.281),(0.889,-0.3),(0.872,-0.32),(0.86,-0.331),(0.85,-0.335),(0.84,-0.336),(0.83,-0.333),(0.82,-0.325),(0.817,-0.32),(0.812,-0.31),(0.809,-0.3),(0.808,-0.28),(0.758,-0.28),(0.758,-0.61),(0.97,-0.61),(0.97,0.538),(0.95,0.539),(0.88,0.547),(0.84,0.548),(0.758,0.557),(0.758,-0.28),(0.808,-0.28),(0.81,-0.244),(0.814,-0.23),(0.82,-0.221),(0.83,-0.214),(0.84,-0.21),(0.86,-0.207),(0.88,-0.208),(0.89,-0.211),(0.903,-0.22),(0.908,-0.23),(0.909,-0.24),(0.909,-0.25)],
  [(0.88,-0.734),(0.9,-0.733),(0.93,-0.727),(0.94,-0.723),(0.95,-0.714),(0.961,-0.69),(0.97,-0.679),(0.97,-0.61),(0.758,-0.61),(0.758,-0.73),(0.8,-0.733),(0.87,-0.735)],
  [(0.93,-0.98),(0.92,-0.992),(0.9,-1.005),(0.88,-1.012),(0.86,-1.013),(0.84,-1.007),(0.808,-0.99),(0.794,-0.98),(0.784,-0.97),(0.772,-0.95),(0.758,-0.94),(0.758,-1.499),(0.97,-1.5),(0.97,-0.898),(0.948,-0.92),(0.94,-0.93),(0.935,-0.94),(0.932,-0.95),(0.934,-0.97)],
  [(1.14,1.499),(1.13,1.499),(1.12,1.499),(1.11,1.499),(1.1,1.499),(1.09,1.499),(1.08,1.499),(1.07,1.499),(1.06,1.499),(1.05,1.499),(1.03,1.499),(1.02,1.499),(1.01,1.499),(1,1.499),(0.99,1.499),(0.98,1.499),(0.97,1.499),(0.97,1.22),(1.14,1.22)],
  [(1.09,0.709),(1.11,0.721),(1.12,0.732),(1.131,0.75),(1.14,0.77),(1.14,1.22),(0.97,1.22),(0.97,1.013),(0.99,0.993),(1,0.979),(1.01,0.96),(1.013,0.95),(1.014,0.93),(1.012,0.88),(1.022,0.84),(1.029,0.78),(1.037,0.75),(1.05,0.727),(1.06,0.716),(1.07,0.709),(1.08,0.707)],
  [(1.14,0.525),(1.12,0.524),(1.08,0.525),(1.02,0.531),(0.97,0.538),(0.97,-0.25),(1.14,-0.25)],
  [(1.02,-0.6),(1.023,-0.56),(1.03,-0.536),(1.037,-0.52),(1.05,-0.502),(1.07,-0.49),(1.08,-0.487),(1.09,-0.486),(1.1,-0.487),(1.11,-0.49),(1.12,-0.496),(1.13,-0.51),(1.14,-0.551),(1.14,-0.25),(0.97,-0.25),(0.97,-0.61),(1.02,-0.61)],
  [(0.99,-0.671),(1.002,-0.67),(1.01,-0.673),(1.013,-0.68),(1.013,-0.69),(1.01,-0.7),(1.005,-0.71),(1,-0.719),(0.984,-0.74),(0.98,-0.75),(0.981,-0.76),(0.991,-0.79),(0.991,-0.8),(0.989,-0.82),(0.984,-0.84),(0.981,-0.87),(0.975,-0.89),(0.97,-0.898),(0.97,-0.96),(1.126,-0.96),(1.127,-0.93),(1.13,-0.903),(1.14,-0.869),(1.14,-0.646),(1.129,-0.66),(1.12,-0.666),(1.11,-0.67),(1.1,-0.672),(1.08,-0.672),(1.069,-0.67),(1.03,-0.659),(1.024,-0.65),(1.021,-0.64),(1.02,-0.61),(0.97,-0.61),(0.97,-0.679),(0.98,-0.674)],
  [(1.14,-1.019),(1.129,-0.99),(1.127,-0.98),(1.126,-0.96),(0.97,-0.96),(0.97,-1.5),(1.14,-1.5)],
  [(1.169,1.23),(1.173,1.27),(1.173,1.3),(1.178,1.32),(1.18,1.324),(1.187,1.33),(1.2,1.333),(1.21,1.332),(1.22,1.329),(1.233,1.32),(1.241,1.31),(1.247,1.296),(1.247,1.498),(1.14,1.499),(1.14,1.22),(1.169,1.22)],
  [(1.14,0.772),(1.15,0.81),(1.16,0.825),(1.17,0.832),(1.18,0.836),(1.19,0.838),(1.2,0.839),(1.22,0.838),(1.23,0.835),(1.24,0.83),(1.247,0.821),(1.247,1.16),(1.238,1.15),(1.23,1.145),(1.22,1.142),(1.21,1.142),(1.2,1.145),(1.191,1.15),(1.18,1.165),(1.174,1.18),(1.17,1.2),(1.169,1.22),(1.14,1.22)],
  [(1.143,-0.24),(1.148,-0.21),(1.153,-0.2),(1.162,-0.19),(1.18,-0.181),(1.2,-0.178),(1.21,-0.179),(1.22,-0.182),(1.23,-0.187),(1.242,-0.2),(1.247,-0.208),(1.247,0.539),(1.24,0.535),(1.22,0.529),(1.2,0.527),(1.14,0.525),(1.14,-0.25),(1.143,-0.25)],
  [(1.14,-0.868),(1.148,-0.85),(1.16,-0.812),(1.166,-0.8),(1.17,-0.795),(1.18,-0.788),(1.19,-0.784),(1.23,-0.773),(1.247,-0.764),(1.247,-0.45),(1.24,-0.436),(1.23,-0.421),(1.2,-0.38),(1.183,-0.36),(1.163,-0.34),(1.156,-0.33),(1.151,-0.32),(1.146,-0.3),(1.143,-0.25),(1.14,-0.25),(1.14,-0.553),(1.151,-0.59),(1.152,-0.61),(1.147,-0.63),(1.14,-0.646)],
  [(1.23,-1.5),(1.247,-1.5),(1.247,-1.055),(1.24,-1.06),(1.22,-1.067),(1.2,-1.068),(1.19,-1.067),(1.18,-1.064),(1.171,-1.06),(1.159,-1.05),(1.151,-1.04),(1.14,-1.021),(1.14,-1.019),(1.14,-1.5)],
  [(1.33,-0.322),(1.34,-0.319),(1.35,-0.312),(1.353,-0.308),(1.353,1.497),(1.247,1.498),(1.247,1.296),(1.253,1.27),(1.253,1.23),(1.256,1.2),(1.255,1.18),(1.252,1.17),(1.247,1.16),(1.247,0.821),(1.256,0.8),(1.263,0.77),(1.27,0.749),(1.293,0.7),(1.296,0.69),(1.298,0.65),(1.302,0.63),(1.304,0.61),(1.304,0.6),(1.3,0.587),(1.288,0.57),(1.264,0.55),(1.247,0.539),(1.247,-0.208),(1.263,-0.24),(1.28,-0.29),(1.29,-0.306),(1.3,-0.315),(1.31,-0.32),(1.32,-0.322)],
  [(1.33,-1.5),(1.353,-1.5),(1.353,-0.649),(1.35,-0.654),(1.34,-0.664),(1.33,-0.671),(1.32,-0.674),(1.31,-0.674),(1.29,-0.668),(1.274,-0.66),(1.262,-0.65),(1.257,-0.64),(1.255,-0.63),(1.256,-0.58),(1.254,-0.56),(1.254,-0.48),(1.251,-0.46),(1.247,-0.45),(1.247,-0.764),(1.268,-0.75),(1.3,-0.724),(1.31,-0.719),(1.32,-0.717),(1.33,-0.721),(1.34,-0.739),(1.342,-0.75),(1.34,-0.762),(1.331,-0.79),(1.33,-0.8),(1.334,-0.85),(1.33,-0.87),(1.33,-0.9),(1.332,-0.91),(1.333,-0.93),(1.33,-0.95),(1.32,-0.971),(1.308,-0.99),(1.29,-1.014),(1.28,-1.026),(1.26,-1.046),(1.247,-1.055),(1.247,-1.5)],
  [(1.36,-0.3),(1.37,-0.28),(1.388,-0.21),(1.4,-0.19),(1.41,-0.18),(1.43,-0.17),(1.45,-0.167),(1.48,-0.168),(1.49,-0.172),(1.499,-0.179),(1.499,0.502),(1.496,0.51),(1.495,0.52),(1.498,0.59),(1.499,0.77),(1.496,0.89),(1.488,0.97),(1.487,1),(1.488,1.04),(1.497,1.14),(1.499,1.19),(1.499,1.36),(1.498,1.37),(1.499,1.477),(1.491,1.49),(1.48,1.498),(1.46,1.502),(1.4,1.497),(1.353,1.497),(1.353,-0.308)],
  [(1.37,-1.5),(1.41,-1.499),(1.45,-1.503),(1.47,-1.502),(1.48,-1.499),(1.49,-1.493),(1.499,-1.481),(1.499,-1.269),(1.498,-1.26),(1.499,-1.211),(1.499,-0.288),(1.498,-0.33),(1.496,-0.35),(1.496,-0.38),(1.494,-0.4),(1.492,-0.41),(1.484,-0.43),(1.47,-0.452),(1.42,-0.508),(1.397,-0.54),(1.387,-0.56),(1.379,-0.58),(1.371,-0.61),(1.36,-0.638),(1.353,-0.649),(1.353,-1.5)],
  [(1.499,1.43),(1.5,1.437),(1.5,1.44),(1.501,1.45),(1.502,1.46),(1.501,1.47),(1.5,1.473),(1.499,1.477),(1.499,1.422)],
  [(1.499,1.2),(1.499,1.21),(1.499,1.22),(1.499,1.23),(1.499,1.24),(1.499,1.25),(1.499,1.26),(1.499,1.27),(1.499,1.28),(1.499,1.29),(1.499,1.3),(1.499,1.31),(1.499,1.32),(1.499,1.33),(1.499,1.34),(1.499,1.35),(1.499,1.36),(1.499,1.36),(1.499,1.191)],
  [(1.499,0.71),(1.499,0.72),(1.499,0.73),(1.499,0.74),(1.499,0.75),(1.499,0.76),(1.499,0.769),(1.499,0.7)],
  [(1.499,-1.21),(1.499,-1.09),(1.5,-1.08),(1.499,-0.89),(1.5,-0.59),(1.499,-0.55),(1.503,-0.53),(1.507,-0.52),(1.516,-0.51),(1.53,-0.503),(1.54,-0.501),(1.59,-0.498),(1.66,-0.498),(1.72,-0.5),(1.73,-0.49),(1.73,0.49),(1.72,0.5),(1.65,0.495),(1.58,0.493),(1.53,0.487),(1.512,0.49),(1.5,0.499),(1.499,0.502),(1.499,-0.179),(1.504,-0.19),(1.505,-0.2),(1.499,-0.27)],
  [(1.499,-1.48),(1.5,-1.477),(1.502,-1.47),(1.503,-1.46),(1.503,-1.45),(1.502,-1.44),(1.5,-1.43),(1.5,-1.42),(1.499,-1.41),(1.499,-1.269)])

lib.write_gds('POLYGONS.gds')
